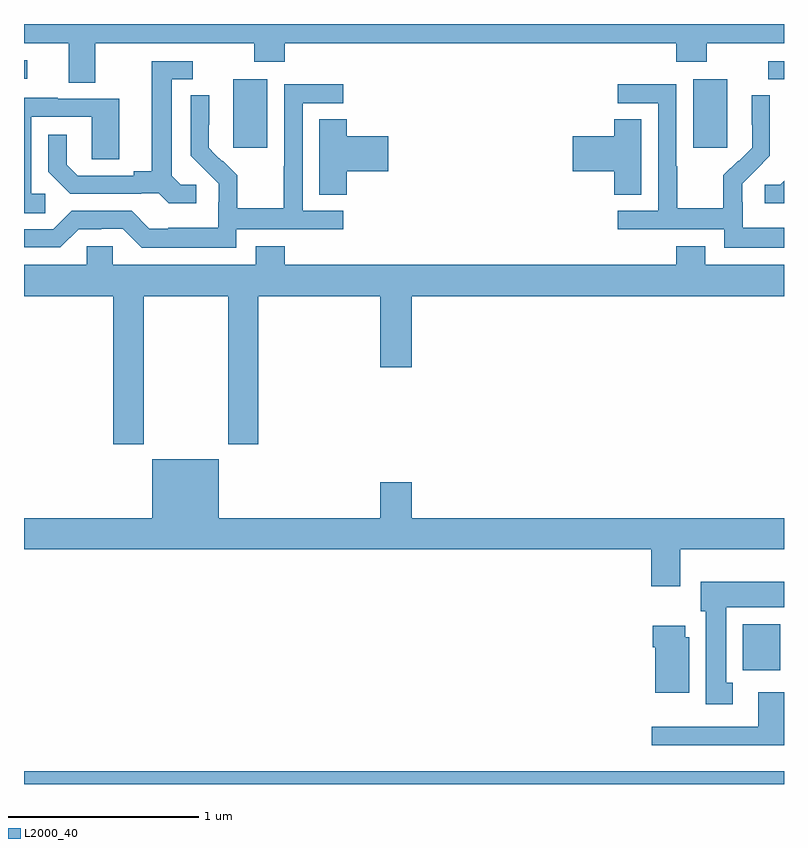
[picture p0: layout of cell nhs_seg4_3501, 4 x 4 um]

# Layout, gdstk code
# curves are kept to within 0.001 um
import gdstk
lib = gdstk.Library(unit=1e-6, precision=1e-09)
def R(c, l, rs):  # rectangles x0, y0, x1, y1
    for r in rs: c.add(gdstk.rectangle(r[:2], r[2:], *l))
def P(c, l, *ps):  # polygons
    for p in ps: c.add(gdstk.Polygon(p, *l))
L2000_40 = (2000, 40)

nhs_seg4_3501 = lib.new_cell('nhs_seg4_3501')
R(nhs_seg4_3501, L2000_40, [(295,812.9,299,812.968), (298.784,813.5,298.981,813.742), (296.102,816.249,296.281,816.61), (298.523,816.249,298.702,816.61), (298.917,816.609,299,816.705), (295,816.612,295.018,816.708)])
P(nhs_seg4_3501, L2000_40, [(295.375,816.8),(296.212,816.8),(296.212,816.701),(296.372,816.701),(296.372,816.8),(298.433,816.8),(298.433,816.701),(298.593,816.701),(298.593,816.8),(299,816.8),(299,816.9),(295,816.9),(295,816.8),(295.235,816.8),(295.235,816.592),(295.375,816.592)],
  [(295.906,816.054),(295.824,816.054),(295.777,816.101),(295.777,816.609),(295.888,816.609),(295.888,816.705),(295.673,816.705),(295.673,816.125),(295.577,816.125),(295.577,816.102),(295.282,816.102),(295.225,816.159),(295.225,816.316),(295.128,816.316),(295.128,816.122),(295.244,816.006),(295.616,816.006),(295.616,816.009),(295.71,816.009),(295.762,815.957),(295.906,815.957)],
  [(296.118,815.82),(296.68,815.82),(296.68,815.916),(296.466,815.916),(296.466,816.483),(296.68,816.483),(296.68,816.582),(296.37,816.582),(296.37,816.152),(296.368,816.152),(296.368,815.929),(296.123,815.929),(296.123,816.103),(296.046,816.18),(296.043,816.177),(295.973,816.248),(295.974,816.524),(295.878,816.524),(295.878,816.206),(296.024,816.058),(296.024,815.961),(296.022,815.961),(296.022,815.827),(295.759,815.827),(295.759,815.823),(295.659,815.823),(295.566,815.916),(295.251,815.916),(295.155,815.82),(295,815.82),(295,815.724),(295.191,815.724),(295.287,815.82),(295.406,815.82),(295.406,815.823),(295.521,815.823),(295.621,815.723),(296.118,815.723)],
  [(299,815.827),(298.782,815.827),(298.782,815.961),(298.78,815.961),(298.78,816.058),(298.926,816.206),(298.926,816.524),(298.83,816.524),(298.83,816.37),(298.832,816.37),(298.832,816.248),(298.761,816.177),(298.758,816.18),(298.681,816.103),(298.681,815.929),(298.437,815.929),(298.437,816.152),(298.434,816.152),(298.434,816.582),(298.125,816.582),(298.125,816.483),(298.338,816.483),(298.338,815.916),(298.125,815.916),(298.125,815.82),(298.686,815.82),(298.686,815.723),(299,815.723)],
  [(295.111,816.006),(295.038,816.006),(295.038,816.411),(295.356,816.411),(295.356,816.187),(295.501,816.187),(295.501,816.507),(295.177,816.507),(295.177,816.511),(295,816.511),(295,815.905),(295.111,815.905)],
  [(298.249,816.398),(298.106,816.398),(298.106,816.308),(297.888,816.308),(297.888,816.125),(298.106,816.125),(298.106,816.001),(298.249,816.001)],
  [(296.699,816.125),(296.917,816.125),(296.917,816.308),(296.699,816.308),(296.699,816.398),(296.555,816.398),(296.555,816.001),(296.699,816.001)],
  [(299,816.074),(298.98,816.054),(298.899,816.054),(298.899,815.957),(299,815.957)],
  [(295.629,815.468),(296.074,815.468),(296.074,814.689),(296.234,814.689),(296.234,815.468),(296.876,815.468),(296.876,815.094),(297.04,815.094),(297.04,815.468),(299,815.468),(299,815.632),(298.585,815.632),(298.585,815.731),(298.433,815.731),(298.433,815.632),(296.372,815.632),(296.372,815.731),(296.219,815.731),(296.219,815.632),(295.467,815.632),(295.467,815.73),(295.329,815.73),(295.329,815.632),(295,815.632),(295,815.468),(295.469,815.468),(295.469,814.689),(295.629,814.689)],
  [(298.453,814.136),(299,814.136),(299,814.3),(297.04,814.3),(297.04,814.489),(296.876,814.489),(296.876,814.3),(296.026,814.3),(296.026,814.609),(295.676,814.609),(295.676,814.3),(295,814.3),(295,814.136),(298.301,814.136),(298.301,813.942),(298.453,813.942)],
  [(298.729,813.434),(298.696,813.434),(298.696,813.83),(299,813.83),(299,813.964),(298.562,813.964),(298.562,813.81),(298.589,813.81),(298.589,813.321),(298.729,813.321)],
  [(298.501,813.672),(298.48,813.672),(298.48,813.733),(298.31,813.733),(298.31,813.62),(298.322,813.62),(298.322,813.38),(298.501,813.38)],
  [(299,813.382),(298.865,813.382),(298.865,813.201),(298.305,813.201),(298.305,813.104),(299,813.104)])

lib.write_gds('nhs_seg4_3501.gds')
